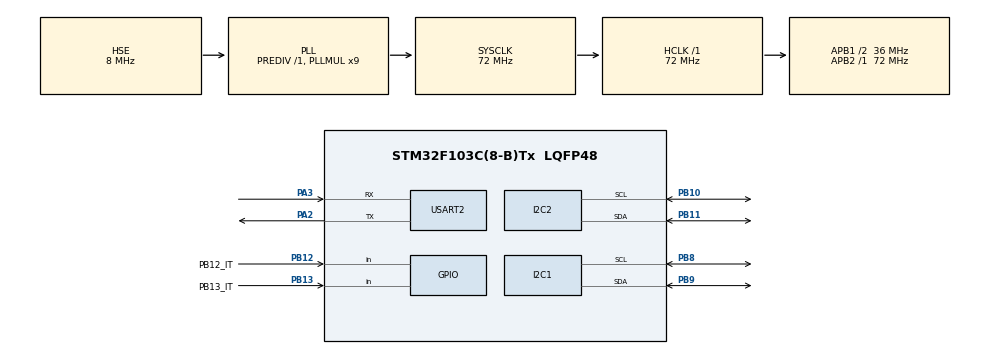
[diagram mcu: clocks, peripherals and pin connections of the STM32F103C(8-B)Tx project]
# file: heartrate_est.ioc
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I2C1.I2C_Mode=I2C_Fast
I2C2.I2C_Mode=I2C_Fast
Mcu.Family=STM32F1
Mcu.Name=STM32F103C(8-B)Tx
Mcu.Package=LQFP48
NVIC.PriorityGroup=NVIC_PRIORITYGROUP_4
PA13.Mode=Serial_Wire
PA13.Signal=SYS_JTMS-SWDIO
PA14.Mode=Serial_Wire
PA14.Signal=SYS_JTCK-SWCLK
PA2.Mode=Asynchronous
PA2.Signal=USART2_TX
PA3.Mode=Asynchronous
PA3.Signal=USART2_RX
PB10.Mode=I2C
PB10.Signal=I2C2_SCL
PB11.Mode=I2C
PB11.Signal=I2C2_SDA
PB12.GPIO_Label=PB12_IT
PB12.Signal=GPIO_Input
PB13.GPIO_Label=PB13_IT
PB13.Signal=GPIO_Input
PB8.Mode=I2C
PB8.Signal=I2C1_SCL
PB9.Mode=I2C
PB9.Signal=I2C1_SDA
PD0-OSC_IN.Mode=HSE-External-Oscillator
PD0-OSC_IN.Signal=RCC_OSC_IN
PD1-OSC_OUT.Mode=HSE-External-Oscillator
PD1-OSC_OUT.Signal=RCC_OSC_OUT
ProjectManager.HeapSize=0x200
ProjectManager.StackSize=0x400
ProjectManager.TargetToolchain=STM32CubeIDE
RCC.AHBFreq_Value=72000000
RCC.APB1CLKDivider=RCC_HCLK_DIV2
RCC.APB1Freq_Value=36000000
RCC.APB1TimFreq_Value=72000000
RCC.APB2Freq_Value=72000000
RCC.APB2TimFreq_Value=72000000
RCC.HCLKFreq_Value=72000000
RCC.PLLMUL=RCC_PLL_MUL9
RCC.PLLSourceVirtual=RCC_PLLSOURCE_HSE
RCC.SYSCLKFreq_VALUE=72000000
RCC.SYSCLKSource=RCC_SYSCLKSOURCE_PLLCLK
RCC.USBFreq_Value=72000000
USART2.VirtualMode=VM_ASYNC
board=custom

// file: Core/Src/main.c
/* USER CODE BEGIN Header */
/**
 ******************************************************************************
 * @file           : main.c
 * @brief          : Main program body
 ******************************************************************************
 * @attention
 *
 * Copyright (c) 2023 STMicroelectronics.
 * All rights reserved.
 *
 * This software is licensed under terms that can be found in the LICENSE file
 * in the root directory of this software component.
 * If no LICENSE file comes with this software, it is provided AS-IS.
 *
 ******************************************************************************
 */
/* USER CODE END Header */
#include "main.h"

/* USER CODE BEGIN Includes */
#include <stdbool.h>
#include <stdio.h>
#include <stdint.h>
#include "algorithm.h"
#include "MAX30102.h"
/* USER CODE END Includes */

I2C_HandleTypeDef hi2c1;
I2C_HandleTypeDef hi2c2;

UART_HandleTypeDef huart2;

/* USER CODE BEGIN PV */
static uint32_t ir1[BUFFER_SIZE];
static uint32_t ir2[BUFFER_SIZE];
static float ir1filt[BUFFER_SIZE] = {0.0f};
static float ir2filt[BUFFER_SIZE] = {0.0f};

static float ir1_dtr[BUFFER_SIZE];
static float ir2_dtr[BUFFER_SIZE];

static float prev_ir1[5] = {0.0f};
static float prev_ir1filt[5] = {0.0f};
static float prev_ir2[5] = {0.0f};
static float prev_ir2filt[5] = {0.0f};

static uint16_t peak_list1[20];
static uint16_t peak_list2[20];
static uint8_t num_peaks1 = 0, num_peaks2 = 0;
static uint8_t seg_count = 0;
static uint8_t hr = 0, vo2 = 0;
//static uint8_t residual_ppi1[10], residual_ppi2[10];
//static uint8_t residual_ppi_len1 = 0, residual_ppi_len2 = 0;
/* USER CODE END PV */

void SystemClock_Config(void);
static void MX_GPIO_Init(void);
static void MX_I2C1_Init(void);
static void MX_I2C2_Init(void);
static void MX_USART2_UART_Init(void);
/* USER CODE BEGIN PFP */
static void max30102_setup(void);
static void max30102_pre_read(void);
static void max30102_main_loop(void);

#ifdef __GNUC__
/* With GCC/RAISONANCE, small printf (option LD Linker->Libraries->Small printf
 set to 'Yes') calls __io_putchar() */
#define PUTCHAR_PROTOTYPE int __io_putchar(int ch)
#else
#define PUTCHAR_PROTOTYPE int fputc(int ch, FILE *f)
#endif /* __GNUC__ */

/* USER CODE END PFP */

/* USER CODE BEGIN 0 */

PUTCHAR_PROTOTYPE {
	HAL_UART_Transmit(&huart2, (uint8_t*) &ch, 1, 100);
	return ch;
}

void max30102_setup() {
	uint8_t uch_dummy;
	maxim_max30102_reset();
	maxim_max30102_read_reg(hi2c1, REG_INTR_STATUS_1, &uch_dummy); // reads/clears the interrupt status register
	maxim_max30102_read_reg(hi2c2, REG_INTR_STATUS_1, &uch_dummy);
	maxim_max30102_init();
}

void max30102_pre_read() {
	uint8_t count = 0;
	uint8_t i;
	uint32_t dummy_value;
	while (count < 5) {

		printf(".\n");

		for (i = 0; i < BUFFER_SIZE; i++) {
			while (HAL_GPIO_ReadPin(GPIOB, PB12_IT_Pin) == GPIO_PIN_SET || HAL_GPIO_ReadPin(GPIOB, PB13_IT_Pin) == GPIO_PIN_SET);	// wait until the interrupt pin asserts
			maxim_max30102_read_fifo(hi2c1, (ir1 + i), &dummy_value); // ppg1
			maxim_max30102_read_fifo(hi2c2, (ir2 + i), &dummy_value); // ppg2
		}
		filter(ir1, ir1filt, BUFFER_SIZE, prev_ir1, prev_ir1filt);
		filter(ir2, ir2filt, BUFFER_SIZE, prev_ir2, prev_ir2filt);

		count++;
	}
}

// Takes samples from MAX30102.  Heart rate are calculated every ST seconds
void max30102_main_loop() {
	uint8_t i;
	uint32_t dummy_value;

	if (seg_count < 5) {
		for (i = 0; i < BUFFER_SIZE; i++) {
			while (HAL_GPIO_ReadPin(GPIOB, PB12_IT_Pin) == GPIO_PIN_SET || HAL_GPIO_ReadPin(GPIOB, PB13_IT_Pin) == GPIO_PIN_SET);	// wait until the interrupt pin asserts
			maxim_max30102_read_fifo(hi2c1, (ir1 + i), &dummy_value); // ppg1
			maxim_max30102_read_fifo(hi2c2, (ir2 + i), &dummy_value); // ppg2
		}
		filter(ir1, ir1filt, BUFFER_SIZE, prev_ir1, prev_ir1filt);
		filter(ir2, ir2filt, BUFFER_SIZE, prev_ir2, prev_ir2filt);

		moving_avg_and_dtr(ir1filt, ir1_dtr, BUFFER_SIZE, (WINDOW_SIZE * 2) + 1, 1);
		moving_avg_and_dtr(ir2filt, ir2_dtr, BUFFER_SIZE, (WINDOW_SIZE * 2) + 1, 1);

		peak_detection(ir1_dtr, BUFFER_SIZE, peak_list1, &num_peaks1, seg_count, W1_PPG1, W2_PPG1, BETA_PPG1);
		peak_detection(ir2_dtr, BUFFER_SIZE, peak_list2, &num_peaks2, seg_count, W1_PPG2, W2_PPG2, BETA_PPG2);

//		printf("============================================\n");
//		for(uint8_t j = 0; j < BUFFER_SIZE; j++) {
//			printf("%d,%d,%d,%d\n", ir1[j], ir2[j], (int32_t)ir1filt[j], (int32_t)ir2filt[j]);
//		}
//
//		for (uint8_t k = 0; k < 20; k++){
//			printf("%d,%d\n", peak_list1[k], peak_list2[k]);
//		}
//		printf("=============================================\n");

		seg_count += 1;
	} else {
		seg_count = 0;
		hr_vo2_cal(peak_list1, num_peaks1, &hr, &vo2);
		printf("hr1: %d, vo2_1: %d, ", hr, vo2);
		hr_vo2_cal(peak_list2, num_peaks2, &hr, &vo2);
		printf("hr2: %d, vo2_2: %d\n", hr, vo2);
		num_peaks1 = 0;
		num_peaks2 = 0;
	}
}
/* USER CODE END 0 */

int main(void) {

	/* MCU Configuration--------------------------------------------------------*/

	/* Reset of all peripherals, Initializes the Flash interface and the Systick. */
	HAL_Init();

	/* Configure the system clock */
	SystemClock_Config();

	/* Initialize all configured peripherals */
	MX_GPIO_Init();
	MX_I2C1_Init();
	MX_I2C2_Init();
	MX_USART2_UART_Init();
	/* USER CODE BEGIN 2 */
	max30102_setup();
	max30102_pre_read();
	/* USER CODE END 2 */

	/* Infinite loop */
	while (1) {

		/* USER CODE BEGIN 3 */
		max30102_main_loop();
	}
	/* USER CODE END 3 */
}

void SystemClock_Config(void) {
	RCC_OscInitTypeDef RCC_OscInitStruct = { 0 };
	RCC_ClkInitTypeDef RCC_ClkInitStruct = { 0 };

	/** Initializes the RCC Oscillators according to the specified parameters
	 * in the RCC_OscInitTypeDef structure.
	 */
	RCC_OscInitStruct.OscillatorType = RCC_OSCILLATORTYPE_HSE;
	RCC_OscInitStruct.HSEState = RCC_HSE_ON;
	RCC_OscInitStruct.HSEPredivValue = RCC_HSE_PREDIV_DIV1;
	RCC_OscInitStruct.HSIState = RCC_HSI_ON;
	RCC_OscInitStruct.PLL.PLLState = RCC_PLL_ON;
	RCC_OscInitStruct.PLL.PLLSource = RCC_PLLSOURCE_HSE;
	RCC_OscInitStruct.PLL.PLLMUL = RCC_PLL_MUL9;
	if (HAL_RCC_OscConfig(&RCC_OscInitStruct) != HAL_OK) {
		Error_Handler();
	}

	/** Initializes the CPU, AHB and APB buses clocks
	 */
	RCC_ClkInitStruct.ClockType = RCC_CLOCKTYPE_HCLK | RCC_CLOCKTYPE_SYSCLK
			| RCC_CLOCKTYPE_PCLK1 | RCC_CLOCKTYPE_PCLK2;
	RCC_ClkInitStruct.SYSCLKSource = RCC_SYSCLKSOURCE_PLLCLK;
	RCC_ClkInitStruct.AHBCLKDivider = RCC_SYSCLK_DIV1;
	RCC_ClkInitStruct.APB1CLKDivider = RCC_HCLK_DIV2;
	RCC_ClkInitStruct.APB2CLKDivider = RCC_HCLK_DIV1;

	if (HAL_RCC_ClockConfig(&RCC_ClkInitStruct, FLASH_LATENCY_2) != HAL_OK) {
		Error_Handler();
	}
}

static void MX_I2C1_Init(void) {

	hi2c1.Instance = I2C1;
	hi2c1.Init.ClockSpeed = 400000;
	hi2c1.Init.DutyCycle = I2C_DUTYCYCLE_2;
	hi2c1.Init.OwnAddress1 = 0;
	hi2c1.Init.AddressingMode = I2C_ADDRESSINGMODE_7BIT;
	hi2c1.Init.DualAddressMode = I2C_DUALADDRESS_DISABLE;
	hi2c1.Init.OwnAddress2 = 0;
	hi2c1.Init.GeneralCallMode = I2C_GENERALCALL_DISABLE;
	hi2c1.Init.NoStretchMode = I2C_NOSTRETCH_DISABLE;
	if (HAL_I2C_Init(&hi2c1) != HAL_OK) {
		Error_Handler();
	}

}

static void MX_I2C2_Init(void) {

	hi2c2.Instance = I2C2;
	hi2c2.Init.ClockSpeed = 400000;
	hi2c2.Init.DutyCycle = I2C_DUTYCYCLE_2;
	hi2c2.Init.OwnAddress1 = 0;
	hi2c2.Init.AddressingMode = I2C_ADDRESSINGMODE_7BIT;
	hi2c2.Init.DualAddressMode = I2C_DUALADDRESS_DISABLE;
	hi2c2.Init.OwnAddress2 = 0;
	hi2c2.Init.GeneralCallMode = I2C_GENERALCALL_DISABLE;
	hi2c2.Init.NoStretchMode = I2C_NOSTRETCH_DISABLE;
	if (HAL_I2C_Init(&hi2c2) != HAL_OK) {
		Error_Handler();
	}

}

static void MX_USART2_UART_Init(void) {

	huart2.Instance = USART2;
	huart2.Init.BaudRate = 115200;
	huart2.Init.WordLength = UART_WORDLENGTH_8B;
	huart2.Init.StopBits = UART_STOPBITS_1;
	huart2.Init.Parity = UART_PARITY_NONE;
	huart2.Init.Mode = UART_MODE_TX_RX;
	huart2.Init.HwFlowCtl = UART_HWCONTROL_NONE;
	huart2.Init.OverSampling = UART_OVERSAMPLING_16;
	if (HAL_UART_Init(&huart2) != HAL_OK) {
		Error_Handler();
	}

}

static void MX_GPIO_Init(void) {
	GPIO_InitTypeDef GPIO_InitStruct = { 0 };

	/* GPIO Ports Clock Enable */
	__HAL_RCC_GPIOD_CLK_ENABLE();
	__HAL_RCC_GPIOA_CLK_ENABLE();
	__HAL_RCC_GPIOB_CLK_ENABLE();

	/*Configure GPIO pins : PB12_IT_Pin PB13_IT_Pin */
	GPIO_InitStruct.Pin = PB12_IT_Pin | PB13_IT_Pin;
	GPIO_InitStruct.Mode = GPIO_MODE_INPUT;
	GPIO_InitStruct.Pull = GPIO_NOPULL;
	HAL_GPIO_Init(GPIOB, &GPIO_InitStruct);

}

void Error_Handler(void) {
	__disable_irq();
	while (1) {
	}
}
